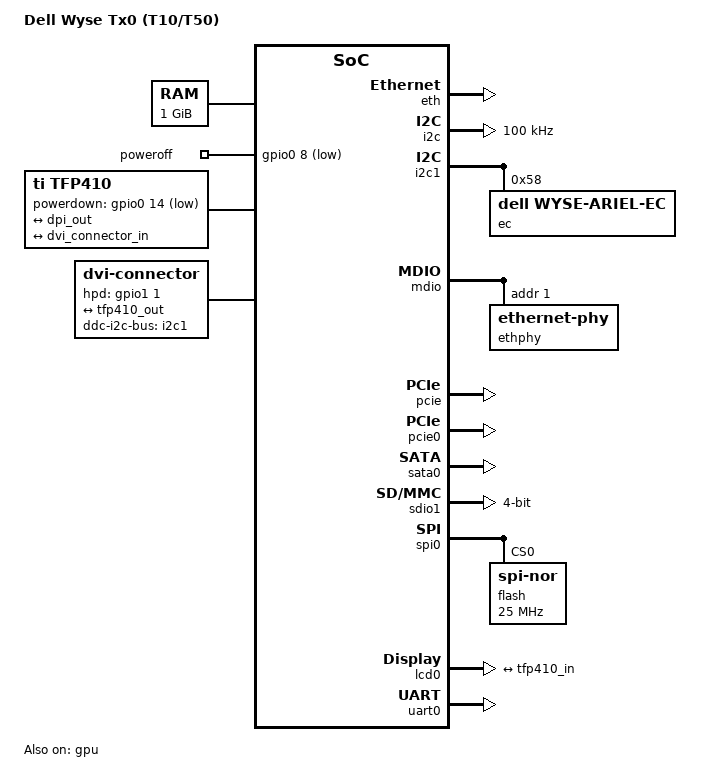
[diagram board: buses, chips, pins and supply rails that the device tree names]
// SPDX-License-Identifier: GPL-2.0
/*
 * Copyright (C) 2018-2023
 * bodhi <mibodhi@gmail.com>
 * Koen
 * balux33
 */

/dts-v1/;
#include <dt-bindings/gpio/gpio.h>
#include "marvell/dove.dtsi"

/ {
	model = "Dell Wyse Tx0 (T10/T50)";
	compatible = "wyse,tx0", "marvell,dove";

	aliases {
		serial0 = &uart0;
	};

	chosen {
		stdout-path = "serial0:115200n8";
	};

	memory {
		device_type = "memory";
		reg = <0x00000000 0x40000000>;
	};

	poweroff {
		compatible = "gpio-poweroff";
		gpios = <&gpio0 8 GPIO_ACTIVE_LOW>;
		pinctrl-0 = <&pmx_gpio_8>;
		pinctrl-names = "default";
	};
	
	gpu-subsystem {
		status = "okay";
	};
	
	reserved-memory {
		#address-cells = <1>;
		#size-cells = <1>;
		ranges;

		framebuffer {
			compatible = "marvell,armada-framebuffer";
			size = <0x02000000>;
			alignment = <0x02000000>;
			no-map;
		};
	};
	
	tfp410: encoder@0 {
		compatible = "ti,tfp410";
		powerdown-gpios = <&gpio0 14 GPIO_ACTIVE_LOW>;
		ports {
			#address-cells = <1>;
			#size-cells = <0>;
			port@0 {
				reg = <0>;
				tfp410_in: endpoint@0 {
					remote-endpoint = <&dpi_out>;
				};
			};
			port@1 {
				reg = <1>;
				tfp410_out: endpoint@0 {
					remote-endpoint = <&dvi_connector_in>;
				};
			};
		};
	};

	dvi0: connector@0 {
		compatible = "dvi-connector";
		label = "dvi";
		digital;
		ddc-i2c-bus = <&i2c1>;
		hpd-gpios = <&gpio1 1 GPIO_ACTIVE_HIGH>;
		port {
			dvi_connector_in: endpoint {
				remote-endpoint = <&tfp410_out>;
			};
		};
	};
};

&eth {
	status = "okay";

	ethernet-port@0 {
		phy-handle = <&ethphy>;
	};
};

&i2c {
	pinctrl-0 = <&pmx_i2c1>;
	pinctrl-names = "default";
	clock-frequency = <100000>;
};

&i2c1 {
	status = "okay";

	ec@58 {
		compatible = "dell,wyse-ariel-ec", "ene,kb3930";
		reg = <0x58>;
	};
};

&mdio {
	status = "okay";

	ethphy: ethernet-phy@1 {
		reg = <1>;
	};
};

&pcie { status = "okay"; };

&pcie0 { status = "okay"; };

&sata0 { status = "okay"; };

&sdio1 {
	status = "okay";

	bus-width = <4>;
	//cd-gpios = <&gpio0 12 GPIO_ACTIVE_LOW>;
	//wp-gpios = <&gpio0 13 GPIO_ACTIVE_LOW>;
};

&spi0 {
	status = "okay";

	flash@0 {
		compatible = "jedec,spi-nor";
		reg = <0>;
		spi-max-frequency = <25000000>;
	};
};

&gpu {
 status = "okay";
};

&lcd0{
	clocks = <&divider_clk 3>;   
	clock-names = "plldivider";
	status = "okay";
	
	lcd0_port: port 
	{
		dpi_out: endpoint {
			remote-endpoint = <&tfp410_in>;
		};
	};
};

&uart0 { status = "okay"; };
